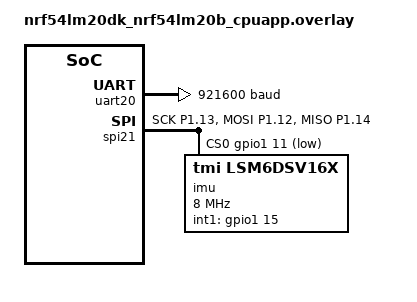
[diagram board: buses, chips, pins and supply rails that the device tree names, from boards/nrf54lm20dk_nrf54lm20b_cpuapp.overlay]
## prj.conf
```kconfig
CONFIG_SHELL=y
CONFIG_LOG=y

CONFIG_SPI=y
CONFIG_SPI_SHELL=y

CONFIG_SENSOR=y
CONFIG_SENSOR_SHELL=y
CONFIG_SENSOR_INFO=y

# Read the INT1 line directly ("gpio get gpio@d8200 15") to tell a sensor that
# never asserts INT1 apart from an MCU that never sees the edge. Also useful
# for driving CS by hand while checking the rework.
CONFIG_GPIO_SHELL=y

# Init's "chip id 0x.." line is LOG_INF, so a bus that is wired wrong shows up
# without raising the level. At DBG the sensor shell logs per channel per
# frame, which at this ODR floods the console.
CONFIG_SENSOR_LOG_LEVEL_INF=y

# FIFO streaming, not a data-ready interrupt per sample. DRDY costs five SPI
# transactions per sample here (status, all_int_src, the fetch, then status and
# all_int_src again to end the drain loop) which measured ~276us and caps out
# near 3600Hz -- fine for 3840Hz, not enough for 7680Hz's 130us budget. One
# watermark interrupt per 255 samples costs one 1785-byte burst instead.
#
# Streaming needs TRIGGER_NONE, not merely a trigger mode left unused.
# lsm6dsv16x_intr_callback() fires both paths when a trigger thread exists: it
# submits the work item AND calls lsm6dsv16x_stream_irq_handler() inline from
# ISR context. The work item then runs two blocking SPI reads while the stream
# handler is driving RTIO ops on the same bus. With TRIGGER_NONE neither the
# semaphore nor the work item is compiled in, lsm6dsv16x_handle_interrupt()
# vanishes entirely, and only the stream handler touches the bus.
#
# TMI_DRIVER_LSM6DSV16X_TRIGGER is still selected by STREAM, so the GPIO
# callback and init_interrupt() are present -- TRIGGER_NONE only removes the
# trigger-thread dispatch, not the interrupt itself.
CONFIG_TMI_DRIVER_LSM6DSV16X_TRIGGER_NONE=y

CONFIG_SENSOR_ASYNC_API=y

# The shell log backend redraws its prompt around every log line, wrapping each
# in ~30 bytes of escapes that the plotter cannot parse -- and the synchronous
# redraw caps throughput near 17 lines/s. Log straight to the UART.
CONFIG_SHELL_LOG_BACKEND=n
CONFIG_LOG_BACKEND_UART=y

# Immediate mode never drops a line, which deferred mode does once the ring
# fills -- a dropped line is a gap in the plot.
CONFIG_LOG_MODE_IMMEDIATE=y

# process() holds three decode structs and the print hands LOG_PRINTK 18
# varargs, which cbprintf formats on the caller's stack in immediate mode.
CONFIG_MAIN_STACK_SIZE=4096
```

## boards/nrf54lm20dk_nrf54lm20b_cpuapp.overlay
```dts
#include <zephyr/dt-bindings/sensor/lsm6dsv16x.h>

/*
 * Same part, same four pins, SPI instead of I2C. The part multiplexes the two
 * buses onto one pad set:
 *
 *   P1.12  SDI  (MOSI)  -- SDA in I2C mode
 *   P1.13  SPC  (SCK)   -- SCL in I2C mode
 *   P1.14  SDO  (MISO)  -- SA0 address bit in I2C mode
 *   P1.15  INT1
 *   P1.11  CS
 *
 * CS is what selects the bus: the part enters SPI mode on the first falling
 * edge of CS and stays there. The board strapped CS high for I2C, so this
 * overlay only works once CS is cut from VDD and run to P1.11. Until then init
 * reads a floating SDO, logs "chip id 0x0" and the device never becomes ready.
 *
 * spi21 (0xc7000) is the same SERIAL instance as the I2C sample's i2c21, chosen
 * for the same reason: on nRF54L a peripheral only reaches GPIOs in its own
 * power domain, SPIM30 cannot drive P1 at all, and spi20 shares 0xc6000 with
 * uart20, the console. The two samples therefore cannot both be flashed -- they
 * claim the same peripheral.
 */

&pinctrl {
	spi21_default: spi21_default {
		group1 {
			psels = <NRF_PSEL(SPIM_SCK, 1, 13)>,
				<NRF_PSEL(SPIM_MOSI, 1, 12)>;
		};

		/*
		 * SDO is high-Z whenever CS is high, so without a bias the MISO
		 * pad floats and WHO_AM_I reads noise. Pulling it down makes an
		 * unwired part read a steady 0x00 instead, which is the
		 * difference between "CS is still strapped" and "the bus is
		 * flaky". The sensor drives the pad push-pull once selected, so
		 * the pull costs nothing in normal operation.
		 */
		group2 {
			psels = <NRF_PSEL(SPIM_MISO, 1, 14)>;
			bias-pull-down;
		};
	};

	spi21_sleep: spi21_sleep {
		group1 {
			psels = <NRF_PSEL(SPIM_SCK, 1, 13)>,
				<NRF_PSEL(SPIM_MOSI, 1, 12)>,
				<NRF_PSEL(SPIM_MISO, 1, 14)>;
			low-power-enable;
		};
	};
};

&uart20 {
	current-speed = <921600>;
};

&spi21 {
	status = "okay";
	pinctrl-0 = <&spi21_default>;
	pinctrl-1 = <&spi21_sleep>;
	pinctrl-names = "default", "sleep";

	/* Plain GPIO, not a pinctrl signal -- nrfx drives CS in software. */
	cs-gpios = <&gpio1 11 GPIO_ACTIVE_LOW>;

	imu: lsm6dsv16x@0 {
		compatible = "tmi,lsm6dsv16x";
		reg = <0>;
		label = "imu";

		/*
		 * 8MHz is spi21's ceiling; the part is good to 10MHz. That is
		 * 20x the I2C sample's 400kHz, which is what makes 7680Hz
		 * reachable here and not there: a 255-row batch is 1785 bytes,
		 * 1.8ms at 8MHz, against a 33ms watermark period.
		 */
		spi-max-frequency = <8000000>;

		/* Mode 3: clock idles high, SDI sampled on the rising edge. */
		spi-cpol;
		spi-cpha;

		accel-odr = <LSM6DSVXXX_DT_ODR_AT_7680Hz>;
		accel-range = <LSM6DSV16X_DT_FS_16G>;
		gyro-odr = <LSM6DSVXXX_DT_ODR_AT_15Hz>;
		/* Max the WTM field holds: 255 accel samples per interrupt. */
		fifo-watermark = <255>;
		/* Batched at the ODR, so the FIFO keeps every sample. */
		accel-fifo-batch-rate = <LSM6DSVXXX_DT_XL_BATCHED_AT_7680Hz>;
		gyro-fifo-batch-rate = <LSM6DSVXXX_DT_GY_NOT_BATCHED>;
		temp-fifo-batch-rate = <LSM6DSVXXX_DT_TEMP_NOT_BATCHED>;

		int1-gpios = <&gpio1 15 GPIO_ACTIVE_HIGH>;

		/* Latched DRDY can rise before the GPIO is armed, losing the edge. */
		drdy-pulsed;
	};
};
```

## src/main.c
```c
/*
 * SPDX-License-Identifier: Apache-2.0
 *
 * LSM6DSV16X over SPI at 7680Hz, streaming raw accelerometer samples to the
 * host as framed binary for spectral analysis -- built to characterise the
 * mechanical transient of an inhaler cartridge actuation.
 *
 * Deliberately raw. No filtering happens here: an actuation is a broadband
 * impulse and the whole point is to find which bands carry it, so anything
 * shaped on-device would be shaping the evidence. Nyquist is 3840Hz.
 *
 * Batches come from the hardware FIFO, 255 samples per watermark interrupt.
 * See prj.conf for why streaming needs TRIGGER_NONE.
 *
 * Wire format, little-endian throughout (both ends are LE):
 *
 *   magic  u32   0x5AA55AA5
 *   seq    u32   batch counter; gaps tell the host it dropped a frame
 *   n      u16   samples in this frame
 *   shift  i8    scale exponent: m/s^2 = sample * 2^shift / 32768
 *   axes   u8    3
 *   data   i16[n][3]   x, y, z
 *   sum    u16   sum of every data byte, truncated
 *
 * The host resynchronises on the magic and drops frames failing the checksum,
 * so a log line landing mid-frame costs one batch rather than the stream.
 */

#include <zephyr/device.h>
#include <zephyr/drivers/sensor.h>
#include <zephyr/drivers/uart.h>
#include <zephyr/kernel.h>
#include <zephyr/logging/log.h>
#include <zephyr/rtio/rtio.h>
#include <zephyr/sys/byteorder.h>

LOG_MODULE_REGISTER(imu_spi_stream, LOG_LEVEL_INF);

#define IMU_NODE     DT_NODELABEL(imu)
#define DECODE_CHUNK 32
#define FRAME_MAGIC  0x5AA55AA5
#define MAX_SAMPLES  256
#define AXES         3

SENSOR_DT_STREAM_IODEV(imu_fifo, IMU_NODE,
		       {SENSOR_TRIG_FIFO_WATERMARK, SENSOR_STREAM_DATA_INCLUDE});

RTIO_DEFINE_WITH_MEMPOOL(imu_rtio, 4, 4, 64, 256, sizeof(void *));

static const struct device *const uart = DEVICE_DT_GET(DT_CHOSEN(zephyr_console));
static const struct sensor_chan_spec accel_chan = {SENSOR_CHAN_ACCEL_XYZ, 0};

/* Union with the struct so the decoder's uint64_t timestamp lands aligned. */
static union {
	struct sensor_three_axis_data data;
	uint8_t bytes[sizeof(struct sensor_three_axis_data) +
		      (DECODE_CHUNK - 1) * sizeof(struct sensor_three_axis_sample_data)];
} chunk;

struct frame_hdr {
	uint32_t magic;
	uint32_t seq;
	uint16_t n;
	int8_t shift;
	uint8_t axes;
} __packed;

static int16_t payload[MAX_SAMPLES * AXES];

static void emit(const void *p, size_t len)
{
	const uint8_t *b = p;

	for (size_t i = 0; i < len; i++) {
		uart_poll_out(uart, b[i]);
	}
}

static void send_frame(uint32_t seq, uint16_t n, int8_t shift)
{
	struct frame_hdr hdr = {
		.magic = FRAME_MAGIC,
		.seq = seq,
		.n = n,
		.shift = shift,
		.axes = AXES,
	};
	size_t bytes = (size_t)n * AXES * sizeof(int16_t);
	const uint8_t *b = (const uint8_t *)payload;
	uint16_t sum = 0;

	for (size_t i = 0; i < bytes; i++) {
		sum += b[i];
	}

	emit(&hdr, sizeof(hdr));
	emit(payload, bytes);
	emit(&sum, sizeof(sum));
}

/*
 * The decoder hands back q31 with a shift; the top 16 bits keep the part's own
 * resolution (2^shift/32768 = 7.8mm/s^2 at the 16g range, against its 4.8mm/s^2
 * LSB) at half the bandwidth of sending q31 whole, which would not fit.
 */
static uint16_t decode_batch(const struct sensor_decoder_api *dec, uint8_t *buf, int8_t *shift)
{
	uint32_t fit = 0;
	uint16_t n = 0;
	int got;

	while ((got = dec->decode(buf, accel_chan, &fit, DECODE_CHUNK, &chunk.data)) > 0) {
		for (int i = 0; i < got && n < MAX_SAMPLES; i++, n++) {
			payload[n * AXES + 0] = (int16_t)(chunk.data.readings[i].x >> 16);
			payload[n * AXES + 1] = (int16_t)(chunk.data.readings[i].y >> 16);
			payload[n * AXES + 2] = (int16_t)(chunk.data.readings[i].z >> 16);
		}
		*shift = chunk.data.shift;
	}

	return n;
}

int main(void)
{
	const struct device *dev = DEVICE_DT_GET(IMU_NODE);
	const struct sensor_decoder_api *dec;
	struct rtio_sqe *handle;
	uint32_t seq = 0;
	int rc;

	if (!device_is_ready(dev)) {
		LOG_ERR("%s not ready -- check CS reaches P1.11 and is not strapped to VDD",
			dev->name);
		return 0;
	}

	rc = sensor_get_decoder(dev, &dec);
	if (rc != 0) {
		LOG_ERR("sensor_get_decoder: %d", rc);
		return 0;
	}

	rc = sensor_stream(&imu_fifo, &imu_rtio, NULL, &handle);
	if (rc != 0) {
		LOG_ERR("sensor_stream: %d", rc);
		return 0;
	}

	/* Last line before the UART carries binary only. */
	LOG_INF("streaming binary frames");
	k_sleep(K_MSEC(50));

	while (true) {
		struct rtio_cqe *cqe = rtio_cqe_consume_block(&imu_rtio);
		uint8_t *buf;
		uint32_t buf_len;
		int8_t shift = 0;
		uint16_t n;

		if (cqe->result != 0) {
			rtio_cqe_release(&imu_rtio, cqe);
			continue;
		}

		rc = rtio_cqe_get_mempool_buffer(&imu_rtio, cqe, &buf, &buf_len);
		rtio_cqe_release(&imu_rtio, cqe);
		if (rc != 0) {
			continue;
		}

		n = decode_batch(dec, buf, &shift);
		rtio_release_buffer(&imu_rtio, buf, buf_len);

		if (n > 0) {
			send_frame(seq++, n, shift);
		}
	}

	return 0;
}
```
